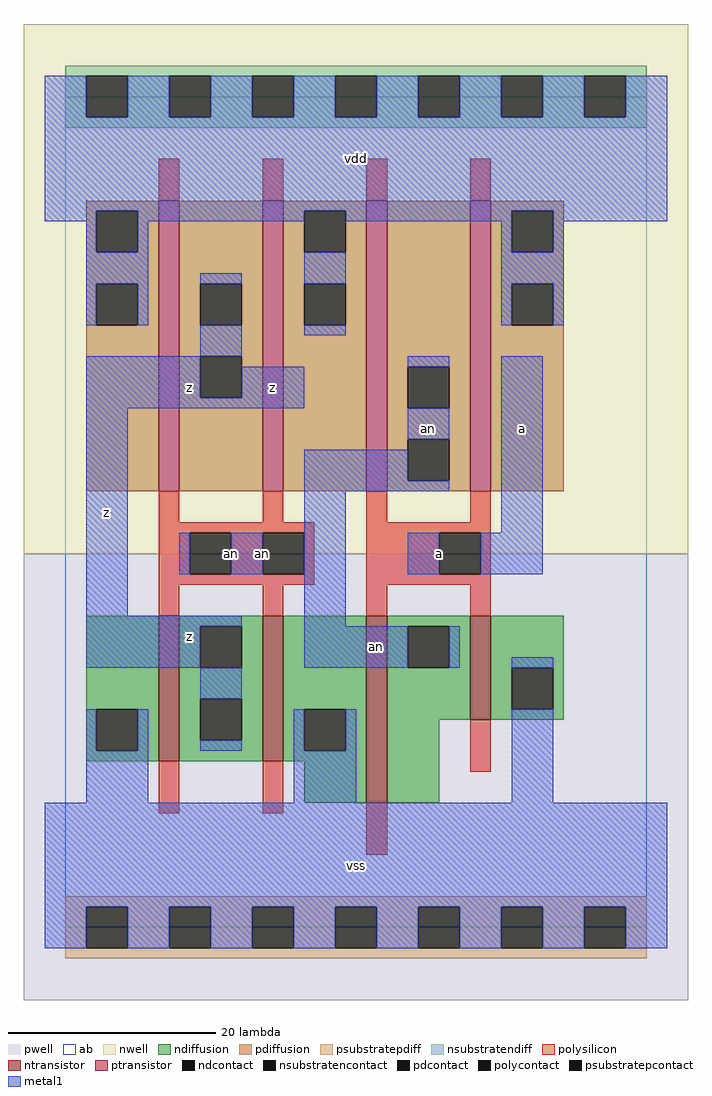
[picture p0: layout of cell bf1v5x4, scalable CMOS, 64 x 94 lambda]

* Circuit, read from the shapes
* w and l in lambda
.subckt bf1v5x4 a an vdd vss z
M1 z an vss vss nfet w=14 l=2 m=2
M2 an a vss vss nfet w=18 l=2
M3 vss a an vss nfet w=10 l=2
M4 z an vdd vdd pfet w=28 l=2 m=2
M5 an a vdd vdd pfet w=28 l=2 m=2
.ends

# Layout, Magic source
magic
tech scmos
<< ab >>
rect 0 0 56 80
<< pwell >>
rect -4 -7 60 36
<< nwell >>
rect -4 36 60 87
<< polysilicon >>
rect 9 70 11 74
rect 19 70 21 74
rect 29 70 31 74
rect 39 70 41 74
rect 9 39 11 42
rect 19 39 21 42
rect 29 39 31 42
rect 39 39 41 42
rect 9 38 24 39
rect 9 34 12 38
rect 16 34 19 38
rect 23 34 24 38
rect 9 33 24 34
rect 29 38 41 39
rect 29 34 36 38
rect 40 34 41 38
rect 29 33 41 34
rect 9 30 11 33
rect 19 30 21 33
rect 29 30 31 33
rect 39 30 41 33
rect 9 11 11 16
rect 19 11 21 16
rect 39 15 41 20
rect 29 7 31 12
<< ndiffusion >>
rect 2 21 9 30
rect 2 17 3 21
rect 7 17 9 21
rect 2 16 9 17
rect 11 29 19 30
rect 11 25 13 29
rect 17 25 19 29
rect 11 22 19 25
rect 11 18 13 22
rect 17 18 19 22
rect 11 16 19 18
rect 21 21 29 30
rect 21 17 23 21
rect 27 17 29 21
rect 21 16 29 17
rect 23 12 29 16
rect 31 29 39 30
rect 31 25 33 29
rect 37 25 39 29
rect 31 20 39 25
rect 41 25 48 30
rect 41 21 43 25
rect 47 21 48 25
rect 41 20 48 21
rect 31 12 36 20
<< pdiffusion >>
rect 2 69 9 70
rect 2 65 3 69
rect 7 65 9 69
rect 2 62 9 65
rect 2 58 3 62
rect 7 58 9 62
rect 2 42 9 58
rect 11 62 19 70
rect 11 58 13 62
rect 17 58 19 62
rect 11 55 19 58
rect 11 51 13 55
rect 17 51 19 55
rect 11 42 19 51
rect 21 69 29 70
rect 21 65 23 69
rect 27 65 29 69
rect 21 62 29 65
rect 21 58 23 62
rect 27 58 29 62
rect 21 42 29 58
rect 31 54 39 70
rect 31 50 33 54
rect 37 50 39 54
rect 31 47 39 50
rect 31 43 33 47
rect 37 43 39 47
rect 31 42 39 43
rect 41 69 48 70
rect 41 65 43 69
rect 47 65 48 69
rect 41 62 48 65
rect 41 58 43 62
rect 47 58 48 62
rect 41 42 48 58
<< metal1 >>
rect -2 78 2 82
rect 6 78 10 82
rect 14 78 18 82
rect 22 78 26 82
rect 30 78 34 82
rect 38 78 42 82
rect 46 78 50 82
rect 54 78 58 82
rect -2 69 58 78
rect -2 68 3 69
rect 2 65 3 68
rect 7 68 23 69
rect 7 65 8 68
rect 2 62 8 65
rect 27 68 43 69
rect 2 58 3 62
rect 7 58 8 62
rect 13 62 17 63
rect 13 55 17 58
rect 23 62 27 65
rect 42 65 43 68
rect 47 68 58 69
rect 47 65 48 68
rect 42 62 48 65
rect 42 58 43 62
rect 47 58 48 62
rect 23 57 27 58
rect 2 51 13 55
rect 33 54 37 55
rect 17 51 23 54
rect 2 50 23 51
rect 2 30 6 50
rect 33 47 37 50
rect 23 43 33 46
rect 23 42 37 43
rect 11 34 12 38
rect 16 34 19 38
rect 2 29 17 30
rect 2 25 13 29
rect 23 29 27 42
rect 42 38 46 55
rect 33 34 36 38
rect 40 34 46 38
rect 23 25 33 29
rect 37 25 38 29
rect 43 25 47 26
rect 13 22 17 25
rect 2 17 3 21
rect 7 17 8 21
rect 13 17 17 18
rect 22 17 23 21
rect 27 17 28 21
rect 2 12 8 17
rect 22 12 28 17
rect 43 12 47 21
rect -2 2 58 12
rect -2 -2 2 2
rect 6 -2 10 2
rect 14 -2 18 2
rect 22 -2 26 2
rect 30 -2 34 2
rect 38 -2 42 2
rect 46 -2 50 2
rect 54 -2 58 2
<< ntransistor >>
rect 9 16 11 30
rect 19 16 21 30
rect 29 12 31 30
rect 39 20 41 30
<< ptransistor >>
rect 9 42 11 70
rect 19 42 21 70
rect 29 42 31 70
rect 39 42 41 70
<< polycontact >>
rect 12 34 16 38
rect 19 34 23 38
rect 36 34 40 38
<< ndcontact >>
rect 3 17 7 21
rect 13 25 17 29
rect 13 18 17 22
rect 23 17 27 21
rect 33 25 37 29
rect 43 21 47 25
<< pdcontact >>
rect 3 65 7 69
rect 3 58 7 62
rect 13 58 17 62
rect 13 51 17 55
rect 23 65 27 69
rect 23 58 27 62
rect 33 50 37 54
rect 33 43 37 47
rect 43 65 47 69
rect 43 58 47 62
<< psubstratepcontact >>
rect 2 -2 6 2
rect 10 -2 14 2
rect 18 -2 22 2
rect 26 -2 30 2
rect 34 -2 38 2
rect 42 -2 46 2
rect 50 -2 54 2
<< nsubstratencontact >>
rect 2 78 6 82
rect 10 78 14 82
rect 18 78 22 82
rect 26 78 30 82
rect 34 78 38 82
rect 42 78 46 82
rect 50 78 54 82
<< psubstratepdiff >>
rect 0 2 56 3
rect 0 -2 2 2
rect 6 -2 10 2
rect 14 -2 18 2
rect 22 -2 26 2
rect 30 -2 34 2
rect 38 -2 42 2
rect 46 -2 50 2
rect 54 -2 56 2
rect 0 -3 56 -2
<< nsubstratendiff >>
rect 0 82 56 83
rect 0 78 2 82
rect 6 78 10 82
rect 14 78 18 82
rect 22 78 26 82
rect 30 78 34 82
rect 38 78 42 82
rect 46 78 50 82
rect 54 78 56 82
rect 0 77 56 78
<< labels >>
rlabel polysilicon 16 36 16 36 6 an
rlabel metal1 4 40 4 40 6 z
rlabel metal1 12 28 12 28 6 z
rlabel metal1 19 36 19 36 6 an
rlabel metal1 12 52 12 52 6 z
rlabel metal1 20 52 20 52 6 z
rlabel metal1 28 6 28 6 6 vss
rlabel metal1 30 27 30 27 6 an
rlabel metal1 36 36 36 36 6 a
rlabel metal1 35 48 35 48 6 an
rlabel metal1 28 74 28 74 6 vdd
rlabel metal1 44 48 44 48 6 a
<< end >>
